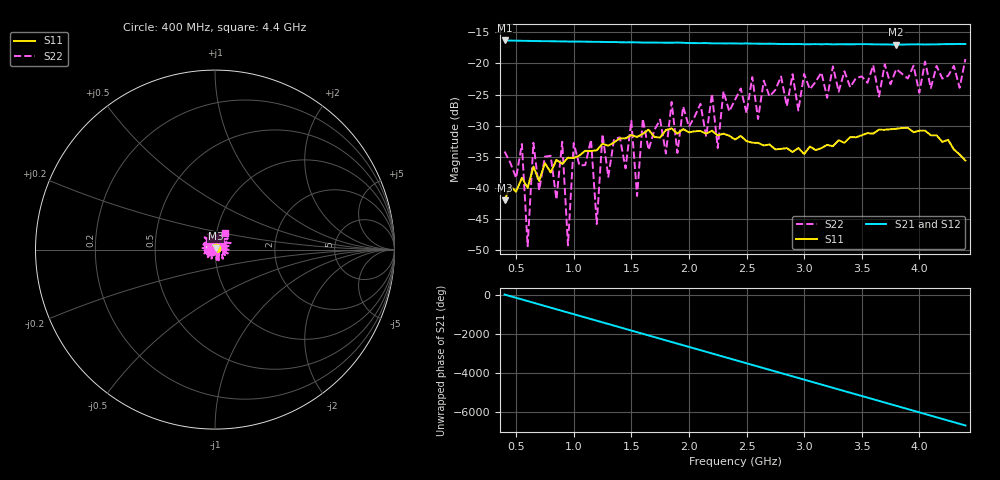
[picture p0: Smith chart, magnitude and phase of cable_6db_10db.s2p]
#  HZ  S  MA  R  50.0
! Rohde & Schwarz ZVL
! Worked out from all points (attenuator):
!   81 points, 400 MHz to 4.4 GHz, reference 50 ohm
!   highest |S21| = -16.30 dB at 400 MHz (marker M1); lowest = -17.0 dB at 3.8 GHz (marker M2)
!   lowest |S11| = -42.0 dB at 400 MHz (marker M3), VSWR 1.02, Z = 50.5 + j0.629 ohm
!   |S11| at or under -10 dB: start of sweep to end of sweep
!   |S22| runs from -49.4 to -19.3 dB; largest |S21 - S12| = 0.0018
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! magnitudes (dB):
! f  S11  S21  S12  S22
! 400 MHz  -42.0  -16.3  -16.3  -34.2
! 550 MHz  -38.4  -16.4  -16.4  -33.0
! 600 MHz  -40.0  -16.4  -16.4  -49.4
! 650 MHz  -36.6  -16.4  -16.4  -32.8
! 850 MHz  -35.5  -16.4  -16.4  -41.9
! 900 MHz  -36.2  -16.5  -16.5  -32.6
! 950 MHz  -35.2  -16.5  -16.5  -49.3
! 1 GHz  -35.2  -16.5  -16.5  -32.8
! 1.1 GHz  -34.1  -16.5  -16.5  -36.3
! 1.15 GHz  -34.1  -16.5  -16.5  -32.3
! 1.2 GHz  -34.0  -16.5  -16.5  -45.8
! 1.25 GHz  -32.9  -16.5  -16.5  -31.4
! 1.3 GHz  -33.2  -16.6  -16.6  -38.3
! 1.5 GHz  -31.5  -16.6  -16.6  -29.2
! 1.55 GHz  -31.8  -16.6  -16.6  -41.3
! 1.6 GHz  -31.3  -16.6  -16.7  -28.9
! 1.75 GHz  -31.9  -16.7  -16.7  -29.0
! 2.4 GHz  -32.2  -16.8  -16.8  -25.9
! 3.1 GHz  -33.9  -16.9  -16.9  -22.9
! 3.75 GHz  -30.6  -17.0  -17.0  -23.3
! 3.8 GHz  -30.5  -17.0  -16.9  -20.9
! 4.4 GHz  -35.6  -16.9  -16.9  -19.3
